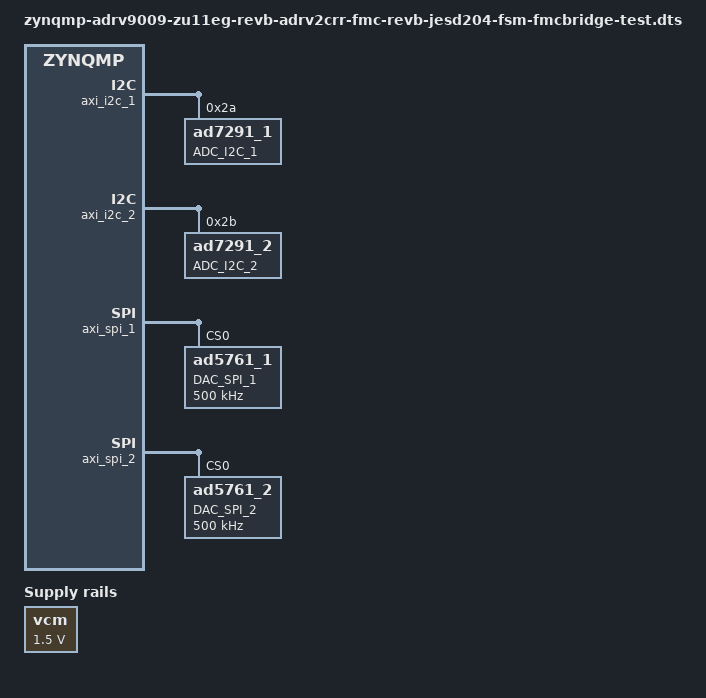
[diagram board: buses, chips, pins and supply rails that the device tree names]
// SPDX-License-Identifier: GPL-2.0
/*
 * ADRV2CRR-FMC using ADRV9009-ZU11EG Rev.B System on Module
 *
 * https://wiki.analog.com/resources/eval/user-guides/adrv9009
 * https://wiki.analog.com/resources/tools-software/linux-drivers/iio-transceiver/adrv9009
 * https://wiki.analog.com/resources/tools-software/linux-software/adrv9009_advanced_plugin
 * https://wiki.analog.com/resources/eval/user-guides/adrv9009-zu11eg/adrv2crr-fmc_carrier_board
 *
 * hdl_project: <adrv9009zu11eg/adrv2crr_fmc>
 * board_revision: <B>
 *
 * Copyright (C) 2021 Analog Devices Inc.
 */

#include "zynqmp-adrv9009-zu11eg-revb-adrv2crr-fmc-revb-jesd204-fsm.dts"

/ {
	vcm: fixedregulator@0 {
		compatible = "regulator-fixed";
		regulator-name = "vcm";
		regulator-min-microvolt = <1500000>;
		regulator-max-microvolt = <1500000>;
		regulator-boot-on;
	};
};

&fpga_axi {
	axi_i2c_1: i2c@83000000 {
		#address-cells = <1>;
		#size-cells = <0>;
		clock-names = "s_axi_aclk";
		clocks = <&zynqmp_clk 71>;
		compatible = "xlnx,axi-iic-2.0", "xlnx,xps-iic-2.00.a";
		interrupt-names = "iic2intc_irpt";
		interrupt-parent = <&gic>;
		interrupts = <0 90 IRQ_TYPE_LEVEL_HIGH>;
		reg = <0x83000000 0x1000>;
	};

	axi_i2c_2: i2c@83100000 {
		#address-cells = <1>;
		#size-cells = <0>;
		clock-names = "s_axi_aclk";
		clocks = <&zynqmp_clk 71>;
		compatible = "xlnx,axi-iic-2.0", "xlnx,xps-iic-2.00.a";
		interrupt-names = "iic2intc_irpt";
		interrupt-parent = <&gic>;
		interrupts = <0 91 IRQ_TYPE_LEVEL_HIGH>;
		reg = <0x83100000 0x1000>;
	};

	axi_spi_1: spi@84000000 {
		#address-cells = <1>;
		#size-cells = <0>;
		bits-per-word = <8>;
		compatible = "xlnx,xps-spi-2.00.a";
		reg = <0x0 0x84000000 0x1000>;
		fifo-size = <16>;
		interrupts = <0 92 IRQ_TYPE_EDGE_RISING>;
		num-cs = <0x8>;
		xlnx,num-ss-bits = <0x8>;
		xlnx,spi-mode = <0>;
	};

	axi_spi_2: spi@84500000 {
		#address-cells = <1>;
		#size-cells = <0>;
		bits-per-word = <8>;
		compatible = "xlnx,xps-spi-2.00.a";
		reg = <0x0 0x84500000 0x1000>;
		fifo-size = <16>;
		interrupts = <0 93 IRQ_TYPE_EDGE_RISING>;
		num-cs = <0x8>;
		xlnx,num-ss-bits = <0x8>;
		xlnx,spi-mode = <0>;
	};

};

&axi_i2c_1 {
	ad7291_1@0 {
		label = "ADC_I2C_1"
		compatible = "adi,ad7291";
		reg = <0x2A>;
	}
}

&axi_i2c_2 {
	ad7291_2@0 {
		label = "ADC_I2C_2"
		compatible = "adi,ad7291";
		reg = <0x2B>;
	}
}

&axi_spi_1 {
	ad5761_1@0 {
		label = "DAC_SPI_1"
		compatible = "adi,ad5761";
		reg = <0>;
		spi-max-frequency = <500000>;
	};
};

&axi_spi_2 {
	ad5761_2@0 {
		label = "DAC_SPI_2"
		compatible = "adi,ad5761";
		reg = <0>;
		spi-max-frequency = <500000>;
	};
};
